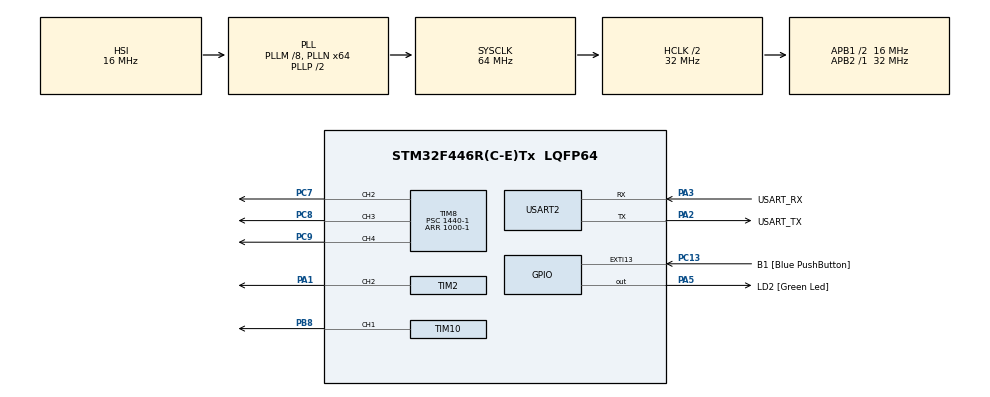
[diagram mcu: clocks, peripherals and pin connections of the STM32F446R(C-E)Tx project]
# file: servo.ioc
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Mcu.Family=STM32F4
Mcu.Name=STM32F446R(C-E)Tx
Mcu.Package=LQFP64
NVIC.PriorityGroup=NVIC_PRIORITYGROUP_0
NVIC.TIM2_IRQn=true\:0\:0\:false\:false\:true\:true\:true\:true
PA1.Signal=S_TIM2_CH2
PA13.GPIO_Label=TMS
PA13.Mode=Serial_Wire
PA13.Signal=SYS_JTMS-SWDIO
PA14.GPIO_Label=TCK
PA14.Mode=Serial_Wire
PA14.Signal=SYS_JTCK-SWCLK
PA2.GPIO_Label=USART_TX
PA2.Mode=Asynchronous
PA2.Signal=USART2_TX
PA3.GPIO_Label=USART_RX
PA3.Mode=Asynchronous
PA3.Signal=USART2_RX
PA5.GPIO_Label=LD2 [Green Led]
PA5.Signal=GPIO_Output
PB3.GPIO_Label=SWO
PB3.Signal=SYS_JTDO-SWO
PB8.Signal=S_TIM10_CH1
PC13.GPIO_Label=B1 [Blue PushButton]
PC13.GPIO_ModeDefaultEXTI=GPIO_MODE_IT_FALLING
PC13.Signal=GPXTI13
PC14-OSC32_IN.Mode=LSE-External-Oscillator
PC14-OSC32_IN.Signal=RCC_OSC32_IN
PC15-OSC32_OUT.Mode=LSE-External-Oscillator
PC15-OSC32_OUT.Signal=RCC_OSC32_OUT
PC7.Signal=S_TIM8_CH2
PC8.Signal=S_TIM8_CH3
PC9.Signal=S_TIM8_CH4
PH0-OSC_IN.Mode=HSE-External-Oscillator
PH0-OSC_IN.Signal=RCC_OSC_IN
PH1-OSC_OUT.Mode=HSE-External-Oscillator
PH1-OSC_OUT.Signal=RCC_OSC_OUT
ProjectManager.HeapSize=0x200
ProjectManager.StackSize=0x400
ProjectManager.TargetToolchain=STM32CubeIDE
RCC.48MHZClocksFreq_Value=84000000
RCC.AHBCLKDivider=RCC_SYSCLK_DIV2
RCC.AHBFreq_Value=32000000
RCC.APB1CLKDivider=RCC_HCLK_DIV2
RCC.APB1Freq_Value=16000000
RCC.APB1TimFreq_Value=32000000
RCC.APB2Freq_Value=32000000
RCC.APB2TimFreq_Value=32000000
RCC.CortexFreq_Value=32000000
RCC.FLatency-AdvancedSettings=FLASH_LATENCY_1
RCC.HCLKFreq_Value=32000000
RCC.HSE_VALUE=8000000
RCC.HSI_VALUE=16000000
RCC.PLLM=8
RCC.PLLN=64
RCC.SYSCLKFreq_VALUE=64000000
RCC.SYSCLKSource=RCC_SYSCLKSOURCE_PLLCLK
RCC.USBFreq_Value=64000000
RCC.VCOOutputFreq_Value=128000000
SH.S_TIM10_CH1.0=TIM10_CH1,PWM Generation1 CH1
SH.S_TIM2_CH2.0=TIM2_CH2,PWM Generation2 CH2
SH.S_TIM8_CH2.0=TIM8_CH2,PWM Generation2 CH2
SH.S_TIM8_CH3.0=TIM8_CH3,PWM Generation3 CH3
SH.S_TIM8_CH4.0=TIM8_CH4,PWM Generation4 CH4
TIM10.Channel=TIM_CHANNEL_1
TIM10.Period=100-1
TIM10.Prescaler=72-1
TIM2.Channel-PWM\ Generation2\ CH2=TIM_CHANNEL_2
TIM2.Period=1000-1
TIM2.Prescaler=640-1
TIM8.Channel-PWM\ Generation2\ CH2=TIM_CHANNEL_2
TIM8.Channel-PWM\ Generation3\ CH3=TIM_CHANNEL_3
TIM8.Channel-PWM\ Generation4\ CH4=TIM_CHANNEL_4
TIM8.Period=1000-1
TIM8.Prescaler=1440-1
USART2.VirtualMode=VM_ASYNC
VP_TIM10_VS_ClockSourceINT.Mode=Enable_Timer
VP_TIM10_VS_OPM.Mode=OPM_bit
VP_TIM2_VS_ClockSourceINT.Mode=Internal
VP_TIM2_VS_OPM.Mode=OPM_bit
VP_TIM8_VS_ClockSourceINT.Mode=Internal
VP_TIM8_VS_OPM.Mode=OPM_bit
board=NUCLEO-F446RE

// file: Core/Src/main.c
/* USER CODE BEGIN Header */
/**
  ******************************************************************************
  * @file           : main.c
  * @brief          : Main program body
  ******************************************************************************
  * @attention
  *
  * Copyright (c) 2022 STMicroelectronics.
  * All rights reserved.
  *
  * This software is licensed under terms that can be found in the LICENSE file
  * in the root directory of this software component.
  * If no LICENSE file comes with this software, it is provided AS-IS.
  *
  ******************************************************************************
  */
/* USER CODE END Header */
#include "main.h"

 TIM_HandleTypeDef htim2;
TIM_HandleTypeDef htim8;
TIM_HandleTypeDef htim10;

UART_HandleTypeDef huart2;

void SystemClock_Config(void);
static void MX_GPIO_Init(void);
static void MX_USART2_UART_Init(void);
static void MX_TIM8_Init(void);
static void MX_TIM10_Init(void);
static void MX_TIM2_Init(void);

int main(void)
{

  /* MCU Configuration--------------------------------------------------------*/

  /* Reset of all peripherals, Initializes the Flash interface and the Systick. */
  HAL_Init();

  /* Configure the system clock */
  SystemClock_Config();

  /* Initialize all configured peripherals */
  MX_GPIO_Init();
  MX_USART2_UART_Init();
  MX_TIM8_Init();
  MX_TIM10_Init();
  MX_TIM2_Init();
  /* USER CODE BEGIN 2 */

  HAL_TIM_PWM_Start(&htim8, TIM_CHANNEL_2);
  HAL_TIM_PWM_Start(&htim8, TIM_CHANNEL_3);
  HAL_TIM_PWM_Start(&htim8, TIM_CHANNEL_4);
  HAL_TIM_PWM_Start(&htim10, TIM_CHANNEL_1);
  HAL_TIM_PWM_Start(&htim2, TIM_CHANNEL_2);
  htim8.Instance->CCR2 = 75;
  htim8.Instance->CCR3 = 75;
  htim8.Instance->CCR4 = 75;
  htim10.Instance->CCR1 = 75;
  htim2.Instance->CCR2 = 75;
  HAL_Delay(1000);

  /* USER CODE END 2 */

  /* Infinite loop */
  /* USER CODE BEGIN WHILE */
  while (1)
  {
 	  int i=0;
 	  while(i<10)
 	  {
 		  htim8.Instance->CCR2 = 75-i;
 		  htim8.Instance->CCR3 = 75+i;
 		  htim8.Instance->CCR4 = 75-i;
 		  htim10.Instance->CCR1 = 75+i;
 		  htim2.Instance->CCR2 = 75-i;
 		  i++;
 		  HAL_Delay(1000);
 	  }
 	  /*int i=0;
 	  while(i<10)
 	  {
 		  htim8.Instance->CCR2 = 32-i;
 		  htim8.Instance->CCR3 = 37+i;
 		  htim8.Instance->CCR4 = 44-i;
 		  htim10.Instance->CCR1 = 54+i;
 		  htim2.Instance->CCR2 = 32-i;
 		  i++;
 		  HAL_Delay(1000);
 	  }*/
    /* USER CODE END WHILE */

  }
}

void SystemClock_Config(void)
{
  RCC_OscInitTypeDef RCC_OscInitStruct = {0};
  RCC_ClkInitTypeDef RCC_ClkInitStruct = {0};

  /** Configure the main internal regulator output voltage
  */
  __HAL_RCC_PWR_CLK_ENABLE();
  __HAL_PWR_VOLTAGESCALING_CONFIG(PWR_REGULATOR_VOLTAGE_SCALE3);

  /** Initializes the RCC Oscillators according to the specified parameters
  * in the RCC_OscInitTypeDef structure.
  */
  RCC_OscInitStruct.OscillatorType = RCC_OSCILLATORTYPE_HSI;
  RCC_OscInitStruct.HSIState = RCC_HSI_ON;
  RCC_OscInitStruct.HSICalibrationValue = RCC_HSICALIBRATION_DEFAULT;
  RCC_OscInitStruct.PLL.PLLState = RCC_PLL_ON;
  RCC_OscInitStruct.PLL.PLLSource = RCC_PLLSOURCE_HSI;
  RCC_OscInitStruct.PLL.PLLM = 8;
  RCC_OscInitStruct.PLL.PLLN = 64;
  RCC_OscInitStruct.PLL.PLLP = RCC_PLLP_DIV2;
  RCC_OscInitStruct.PLL.PLLQ = 2;
  RCC_OscInitStruct.PLL.PLLR = 2;
  if (HAL_RCC_OscConfig(&RCC_OscInitStruct) != HAL_OK)
  {
    Error_Handler();
  }

  /** Initializes the CPU, AHB and APB buses clocks
  */
  RCC_ClkInitStruct.ClockType = RCC_CLOCKTYPE_HCLK|RCC_CLOCKTYPE_SYSCLK
                              |RCC_CLOCKTYPE_PCLK1|RCC_CLOCKTYPE_PCLK2;
  RCC_ClkInitStruct.SYSCLKSource = RCC_SYSCLKSOURCE_PLLCLK;
  RCC_ClkInitStruct.AHBCLKDivider = RCC_SYSCLK_DIV2;
  RCC_ClkInitStruct.APB1CLKDivider = RCC_HCLK_DIV2;
  RCC_ClkInitStruct.APB2CLKDivider = RCC_HCLK_DIV1;

  if (HAL_RCC_ClockConfig(&RCC_ClkInitStruct, FLASH_LATENCY_1) != HAL_OK)
  {
    Error_Handler();
  }
}

static void MX_TIM2_Init(void)
{

  TIM_ClockConfigTypeDef sClockSourceConfig = {0};
  TIM_MasterConfigTypeDef sMasterConfig = {0};
  TIM_OC_InitTypeDef sConfigOC = {0};

  htim2.Instance = TIM2;
  htim2.Init.Prescaler = 640-1;
  htim2.Init.CounterMode = TIM_COUNTERMODE_UP;
  htim2.Init.Period = 1000-1;
  htim2.Init.ClockDivision = TIM_CLOCKDIVISION_DIV1;
  htim2.Init.AutoReloadPreload = TIM_AUTORELOAD_PRELOAD_DISABLE;
  if (HAL_TIM_Base_Init(&htim2) != HAL_OK)
  {
    Error_Handler();
  }
  sClockSourceConfig.ClockSource = TIM_CLOCKSOURCE_INTERNAL;
  if (HAL_TIM_ConfigClockSource(&htim2, &sClockSourceConfig) != HAL_OK)
  {
    Error_Handler();
  }
  if (HAL_TIM_PWM_Init(&htim2) != HAL_OK)
  {
    Error_Handler();
  }
  if (HAL_TIM_OnePulse_Init(&htim2, TIM_OPMODE_SINGLE) != HAL_OK)
  {
    Error_Handler();
  }
  sMasterConfig.MasterOutputTrigger = TIM_TRGO_RESET;
  sMasterConfig.MasterSlaveMode = TIM_MASTERSLAVEMODE_DISABLE;
  if (HAL_TIMEx_MasterConfigSynchronization(&htim2, &sMasterConfig) != HAL_OK)
  {
    Error_Handler();
  }
  sConfigOC.OCMode = TIM_OCMODE_PWM1;
  sConfigOC.Pulse = 0;
  sConfigOC.OCPolarity = TIM_OCPOLARITY_HIGH;
  sConfigOC.OCFastMode = TIM_OCFAST_DISABLE;
  if (HAL_TIM_PWM_ConfigChannel(&htim2, &sConfigOC, TIM_CHANNEL_2) != HAL_OK)
  {
    Error_Handler();
  }
  HAL_TIM_MspPostInit(&htim2);

}

static void MX_TIM8_Init(void)
{

  TIM_ClockConfigTypeDef sClockSourceConfig = {0};
  TIM_MasterConfigTypeDef sMasterConfig = {0};
  TIM_OC_InitTypeDef sConfigOC = {0};
  TIM_BreakDeadTimeConfigTypeDef sBreakDeadTimeConfig = {0};

  htim8.Instance = TIM8;
  htim8.Init.Prescaler = 1440-1;
  htim8.Init.CounterMode = TIM_COUNTERMODE_UP;
  htim8.Init.Period = 1000-1;
  htim8.Init.ClockDivision = TIM_CLOCKDIVISION_DIV1;
  htim8.Init.RepetitionCounter = 0;
  htim8.Init.AutoReloadPreload = TIM_AUTORELOAD_PRELOAD_DISABLE;
  if (HAL_TIM_Base_Init(&htim8) != HAL_OK)
  {
    Error_Handler();
  }
  sClockSourceConfig.ClockSource = TIM_CLOCKSOURCE_INTERNAL;
  if (HAL_TIM_ConfigClockSource(&htim8, &sClockSourceConfig) != HAL_OK)
  {
    Error_Handler();
  }
  if (HAL_TIM_PWM_Init(&htim8) != HAL_OK)
  {
    Error_Handler();
  }
  if (HAL_TIM_OnePulse_Init(&htim8, TIM_OPMODE_SINGLE) != HAL_OK)
  {
    Error_Handler();
  }
  sMasterConfig.MasterOutputTrigger = TIM_TRGO_RESET;
  sMasterConfig.MasterSlaveMode = TIM_MASTERSLAVEMODE_DISABLE;
  if (HAL_TIMEx_MasterConfigSynchronization(&htim8, &sMasterConfig) != HAL_OK)
  {
    Error_Handler();
  }
  sConfigOC.OCMode = TIM_OCMODE_PWM1;
  sConfigOC.Pulse = 0;
  sConfigOC.OCPolarity = TIM_OCPOLARITY_HIGH;
  sConfigOC.OCNPolarity = TIM_OCNPOLARITY_HIGH;
  sConfigOC.OCFastMode = TIM_OCFAST_DISABLE;
  sConfigOC.OCIdleState = TIM_OCIDLESTATE_RESET;
  sConfigOC.OCNIdleState = TIM_OCNIDLESTATE_RESET;
  if (HAL_TIM_PWM_ConfigChannel(&htim8, &sConfigOC, TIM_CHANNEL_2) != HAL_OK)
  {
    Error_Handler();
  }
  if (HAL_TIM_PWM_ConfigChannel(&htim8, &sConfigOC, TIM_CHANNEL_3) != HAL_OK)
  {
    Error_Handler();
  }
  if (HAL_TIM_PWM_ConfigChannel(&htim8, &sConfigOC, TIM_CHANNEL_4) != HAL_OK)
  {
    Error_Handler();
  }
  sBreakDeadTimeConfig.OffStateRunMode = TIM_OSSR_DISABLE;
  sBreakDeadTimeConfig.OffStateIDLEMode = TIM_OSSI_DISABLE;
  sBreakDeadTimeConfig.LockLevel = TIM_LOCKLEVEL_OFF;
  sBreakDeadTimeConfig.DeadTime = 0;
  sBreakDeadTimeConfig.BreakState = TIM_BREAK_DISABLE;
  sBreakDeadTimeConfig.BreakPolarity = TIM_BREAKPOLARITY_HIGH;
  sBreakDeadTimeConfig.AutomaticOutput = TIM_AUTOMATICOUTPUT_DISABLE;
  if (HAL_TIMEx_ConfigBreakDeadTime(&htim8, &sBreakDeadTimeConfig) != HAL_OK)
  {
    Error_Handler();
  }
  HAL_TIM_MspPostInit(&htim8);

}

static void MX_TIM10_Init(void)
{

  TIM_OC_InitTypeDef sConfigOC = {0};

  htim10.Instance = TIM10;
  htim10.Init.Prescaler = 72-1;
  htim10.Init.CounterMode = TIM_COUNTERMODE_UP;
  htim10.Init.Period = 100-1;
  htim10.Init.ClockDivision = TIM_CLOCKDIVISION_DIV1;
  htim10.Init.AutoReloadPreload = TIM_AUTORELOAD_PRELOAD_DISABLE;
  if (HAL_TIM_Base_Init(&htim10) != HAL_OK)
  {
    Error_Handler();
  }
  if (HAL_TIM_PWM_Init(&htim10) != HAL_OK)
  {
    Error_Handler();
  }
  if (HAL_TIM_OnePulse_Init(&htim10, TIM_OPMODE_SINGLE) != HAL_OK)
  {
    Error_Handler();
  }
  sConfigOC.OCMode = TIM_OCMODE_PWM1;
  sConfigOC.Pulse = 0;
  sConfigOC.OCPolarity = TIM_OCPOLARITY_HIGH;
  sConfigOC.OCFastMode = TIM_OCFAST_DISABLE;
  if (HAL_TIM_PWM_ConfigChannel(&htim10, &sConfigOC, TIM_CHANNEL_1) != HAL_OK)
  {
    Error_Handler();
  }
  HAL_TIM_MspPostInit(&htim10);

}

static void MX_USART2_UART_Init(void)
{

  huart2.Instance = USART2;
  huart2.Init.BaudRate = 115200;
  huart2.Init.WordLength = UART_WORDLENGTH_8B;
  huart2.Init.StopBits = UART_STOPBITS_1;
  huart2.Init.Parity = UART_PARITY_NONE;
  huart2.Init.Mode = UART_MODE_TX_RX;
  huart2.Init.HwFlowCtl = UART_HWCONTROL_NONE;
  huart2.Init.OverSampling = UART_OVERSAMPLING_16;
  if (HAL_UART_Init(&huart2) != HAL_OK)
  {
    Error_Handler();
  }

}

static void MX_GPIO_Init(void)
{
  GPIO_InitTypeDef GPIO_InitStruct = {0};

  /* GPIO Ports Clock Enable */
  __HAL_RCC_GPIOC_CLK_ENABLE();
  __HAL_RCC_GPIOH_CLK_ENABLE();
  __HAL_RCC_GPIOA_CLK_ENABLE();
  __HAL_RCC_GPIOB_CLK_ENABLE();

  /*Configure GPIO pin Output Level */
  HAL_GPIO_WritePin(LD2_GPIO_Port, LD2_Pin, GPIO_PIN_RESET);

  /*Configure GPIO pin : B1_Pin */
  GPIO_InitStruct.Pin = B1_Pin;
  GPIO_InitStruct.Mode = GPIO_MODE_IT_FALLING;
  GPIO_InitStruct.Pull = GPIO_NOPULL;
  HAL_GPIO_Init(B1_GPIO_Port, &GPIO_InitStruct);

  /*Configure GPIO pin : LD2_Pin */
  GPIO_InitStruct.Pin = LD2_Pin;
  GPIO_InitStruct.Mode = GPIO_MODE_OUTPUT_PP;
  GPIO_InitStruct.Pull = GPIO_NOPULL;
  GPIO_InitStruct.Speed = GPIO_SPEED_FREQ_LOW;
  HAL_GPIO_Init(LD2_GPIO_Port, &GPIO_InitStruct);

}

void Error_Handler(void)
{
  __disable_irq();
  while (1)
  {
  }
}
